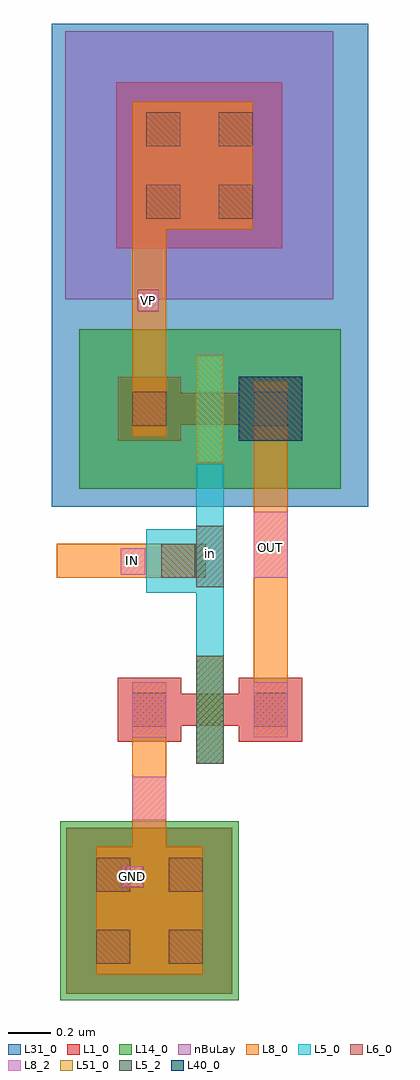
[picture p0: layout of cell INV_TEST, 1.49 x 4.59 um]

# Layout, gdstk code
import gdstk
lib = gdstk.Library(unit=1e-6, precision=5e-09)
def R(c, l, rs):  # rectangles x0, y0, x1, y1
    for r in rs: c.add(gdstk.rectangle(r[:2], r[2:], *l))
L1_0 = (1, 0)
L5_0 = (5, 0)
L5_2 = (5, 2)
L6_0 = (6, 0)
L8_0 = (8, 0)
L8_2 = (8, 2)
L14_0 = (14, 0)
L31_0 = (31, 0)
nBuLay = (32, 0)
L40_0 = (40, 0)
L51_0 = (51, 0)

nmos = lib.new_cell('nmos')
R(nmos, L1_0, [(0,0,0.3,0.3), (0.57,0,0.87,0.3), (0,0.075,0.87,0.225)])
R(nmos, L5_0, [(0.37,-0.105,0.5,0.405)])
R(nmos, L5_2, [(0.37,-0.105,0.5,0.405)])
R(nmos, L6_0, [(0.07,0.07,0.23,0.23), (0.64,0.07,0.8,0.23)])
R(nmos, L8_0, [(0.07,0.02,0.23,0.28), (0.64,0.02,0.8,0.28)])
R(nmos, L8_2, [(0.07,0.02,0.23,0.28), (0.64,0.02,0.8,0.28)])
R(nmos, L51_0, [(0.37,-0.105,0.5,0.405)])
nmos.add(gdstk.Label('nmos', (0.435,0.15), layer=63, texttype=0))
nmos.add(gdstk.Label('nmos', (0.435,0.15), layer=51, texttype=0))

pmos = lib.new_cell('pmos')
R(pmos, L1_0, [(0,0,0.3,0.3), (0.57,0,0.87,0.3), (0,0.075,0.87,0.225)])
R(pmos, L5_0, [(0.37,-0.105,0.5,0.405), (0.37,-0.105,0.5,0.405)])
R(pmos, L6_0, [(0.07,0.07,0.23,0.23), (0.64,0.07,0.8,0.23)])
R(pmos, L8_0, [(0.07,0.02,0.23,0.28), (0.07,0.02,0.23,0.28), (0.64,0.02,0.8,0.28), (0.64,0.02,0.8,0.28)])
R(pmos, L14_0, [(-0.18,-0.225,1.05,0.525)])
R(pmos, L31_0, [(-0.31,-0.31,1.18,0.61)])
R(pmos, L40_0, [(0.57,0,0.87,0.3)])
R(pmos, L51_0, [(0.37,-0.105,0.5,0.405)])
pmos.add(gdstk.Label('pmos', (0.435,0.15), layer=63, texttype=0))
pmos.add(gdstk.Label('pmos', (0.435,0.15), layer=51, texttype=0))

via_1 = lib.new_cell('Via$1')
R(via_1, L5_0, [(-0.15,-0.15,0.15,0.15)])
R(via_1, L6_0, [(-0.08,-0.08,0.08,0.08)])
R(via_1, L8_0, [(-0.13,-0.08,0.13,0.08)])

inv_test = lib.new_cell('INV_TEST')
R(inv_test, L1_0, [(-0.835,-3.215,-0.055,-2.435), (-0.6,0.29,0.18,1.07)])
R(inv_test, L5_0, [(-0.225,-1.635,-0.095,-0.7)])
R(inv_test, L5_2, [(-0.225,-1.305,-0.095,-1.015), (-0.21,-1.195,-0.11,-1.095)])
R(inv_test, L6_0, [(-0.695,-3.075,-0.535,-2.915), (-0.355,-3.075,-0.195,-2.915), (-0.695,-2.735,-0.535,-2.575), (-0.355,-2.735,-0.195,-2.575), (-0.46,0.43,-0.3,0.59), (-0.12,0.43,0.04,0.59), (-0.46,0.77,-0.3,0.93), (-0.12,0.77,0.04,0.93)])
R(inv_test, L8_0, [(-0.695,-3.125,-0.195,-2.525), (-0.525,-2.72,-0.365,-2.4), (-0.525,-2.4,-0.365,-2.015), (-0.525,-2.015,-0.365,-1.995), (0.045,-1.755,0.205,-0.52), (-0.88,-1.26,-0.59,-1.1), (-0.59,-1.26,-0.44,-1.1), (-0.525,-0.375,-0.365,-0.31), (-0.525,-0.31,-0.365,0.125), (-0.525,-0.045,-0.365,0.125), (-0.525,0.125,-0.365,0.345), (-0.525,0.345,-0.365,0.98), (-0.46,0.38,0.04,0.98)])
R(inv_test, L8_2, [(-0.575,-2.715,-0.475,-2.615), (-0.525,-2.4,-0.365,-2.195), (0.045,-1.26,0.205,-0.95), (-0.58,-1.245,-0.465,-1.12), (-0.575,-1.23,-0.475,-1.13), (0.075,-1.165,0.175,-1.065), (-0.5,-0.005,-0.4,0.095)])
R(inv_test, L14_0, [(-0.865,-3.245,-0.025,-2.405)])
R(inv_test, L31_0, [(-0.905,-0.005,0.585,1.345), (-0.84,0.05,0.42,1.31)])
R(inv_test, nBuLay, [(-0.84,0.05,0.42,1.31)])
inv_test.add(gdstk.Reference(nmos, (-0.595,-2.03)))
inv_test.add(gdstk.Reference(pmos, (-0.595,-0.615)))
inv_test.add(gdstk.Reference(via_1, (-0.31,-1.18)))
inv_test.add(gdstk.Label('GND', (-0.525,-2.665), layer=8, texttype=25))
inv_test.add(gdstk.Label('OUT', (0.125,-1.115), layer=8, texttype=25))
inv_test.add(gdstk.Label('IN', (-0.525,-1.18), layer=8, texttype=25))
inv_test.add(gdstk.Label('VP', (-0.45,0.045), layer=8, texttype=25))
inv_test.add(gdstk.Label('in', (-0.16,-1.145), layer=5, texttype=1))

lib.write_gds('INV_TEST.gds')
